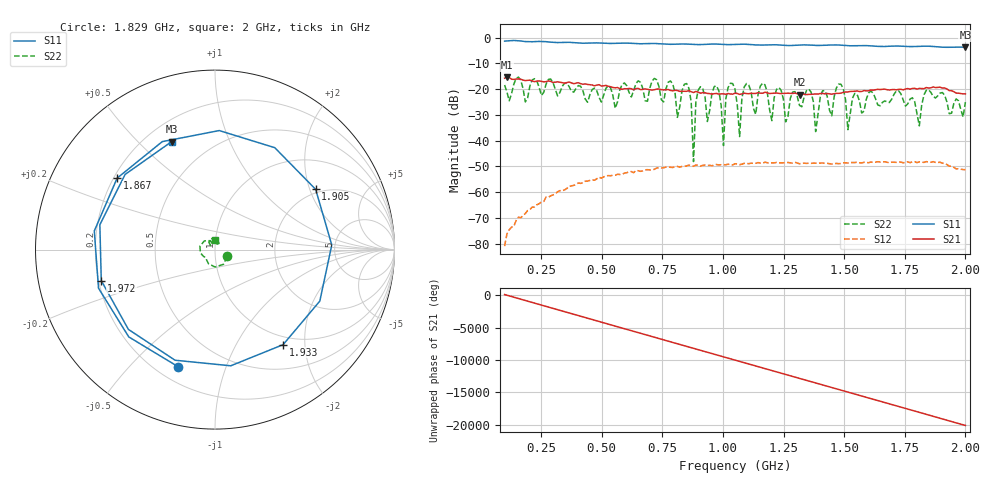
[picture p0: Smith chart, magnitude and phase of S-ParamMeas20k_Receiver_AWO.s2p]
!Keysight Technologies,N5242B,MY48420967,A.15.65.19
!Date: Saturday, February 04, 2023 00:03:42
!Correction: S11(C  1-Port  )
!S21(Off)
!S12(Off)
!S22(Off)
!S2P File: Measurements: S11, S21, S12, S22:
# Hz S  dB  R 50
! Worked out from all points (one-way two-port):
!   201 points, 100 MHz to 2 GHz, reference 50 ohm
!   highest |S21| = -15.43 dB at 109.5 MHz (marker M1); lowest = -22.2 dB at 1.316 GHz (marker M2)
!   lowest |S11| = -3.8 dB at 2 GHz (marker M3), VSWR 4.68, Z = 15.2 + j31.6 ohm
!   |S11| at or under -10 dB: nowhere
!   |S22| runs from -48.2 to -15.3 dB; largest |S21 - S12| = 0.17
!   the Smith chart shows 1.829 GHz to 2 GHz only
!   S11 on the Smith chart (normalised r, x): 1.829 GHz: 0.28, -0.69; 1.867 GHz: 0.21, +0.31; 1.905 GHz: 1.87, +2.20; 1.933 GHz: 0.86, -1.59; 1.972 GHz: 0.21, -0.13; 2 GHz: 0.30, +0.63
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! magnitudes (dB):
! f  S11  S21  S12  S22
! 100 MHz  -1.3  -15.7  -81.0  -18.4
! 109.5 MHz  -1.3  -15.4  -76.3  -21.1
! 423 MHz  -2.1  -18.1  -56.3  -20.7
! 736.5 MHz  -2.3  -19.9  -50.5  -19.0
! 860 MHz  -2.5  -20.6  -49.5  -19.7
! 879 MHz  -2.6  -21.3  -50.0  -48.2
! 898 MHz  -2.7  -21.1  -49.5  -20.4
! 974 MHz  -2.5  -21.7  -49.3  -18.7
! 1.002 GHz  -2.6  -21.9  -49.3  -41.9
! 1.022 GHz  -2.7  -21.7  -49.2  -19.4
! 1.05 GHz  -2.6  -21.6  -49.0  -20.0
! 1.069 GHz  -2.5  -22.0  -49.4  -38.4
! 1.097 GHz  -2.6  -21.7  -48.9  -17.8
! 1.316 GHz  -2.9  -22.2  -49.0  -26.3
! 1.373 GHz  -2.9  -21.9  -48.7  -24.8
! 1.687 GHz  -3.3  -20.3  -48.6  -25.2
! 1.829 GHz  -3.3  -19.8  -48.5  -22.3
! 1.867 GHz  -3.4  -19.1  -48.2  -22.8
! 1.905 GHz  -3.7  -19.6  -48.8  -21.3
! 1.933 GHz  -3.7  -20.6  -49.9  -29.5
! 1.972 GHz  -3.7  -21.6  -50.9  -24.5
! 2 GHz  -3.8  -21.8  -51.3  -25.0
